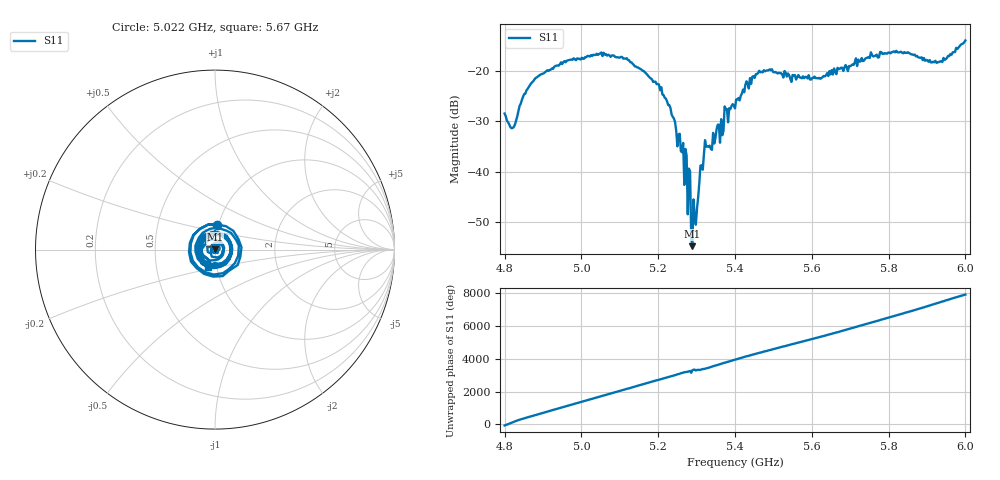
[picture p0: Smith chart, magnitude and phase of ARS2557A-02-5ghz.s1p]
! NanoVNA-App
! Date: 2026-05-25 01:55:08
! Start: 4.8GHz Stop: 6GHz Points: 401
! S-Parameter data: F S11
# Hz S RI R 50
!  Frequency  S11_Real  S11_Imag
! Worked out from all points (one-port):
!   401 points, 4.8 GHz to 6 GHz, reference 50 ohm
!   lowest |S11| = -54.8 dB at 5.289 GHz (marker M1), VSWR 1.00, Z = 50.1 + j0.168 ohm
!   |S11| at or under -10 dB: start of sweep to end of sweep
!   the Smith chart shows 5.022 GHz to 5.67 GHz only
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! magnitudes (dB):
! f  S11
! 4.8 GHz  -28.4
! 4.821 GHz  -31.3
! 4.872 GHz  -22.2
! 4.95 GHz  -18.6
! 5.1 GHz  -17.3
! 5.202 GHz  -22.6
! 5.226 GHz  -26.7
! 5.25 GHz  -35.0
! 5.268 GHz  -42.6
! 5.274 GHz  -36.8
! 5.277 GHz  -48.5
! 5.283 GHz  -40.0
! 5.286 GHz  -53.3
! 5.289 GHz  -54.8
! 5.292 GHz  -45.5
! 5.301 GHz  -47.4
! 5.316 GHz  -39.6
! 5.325 GHz  -35.0
! 5.364 GHz  -29.5
! 5.379 GHz  -27.5
! 5.4 GHz  -27.4
! 5.46 GHz  -20.4
! 5.55 GHz  -20.7
! 5.7 GHz  -19.0
! 5.76 GHz  -17.0
! 5.85 GHz  -16.2
! 5.934 GHz  -18.0
! 6 GHz  -13.9
